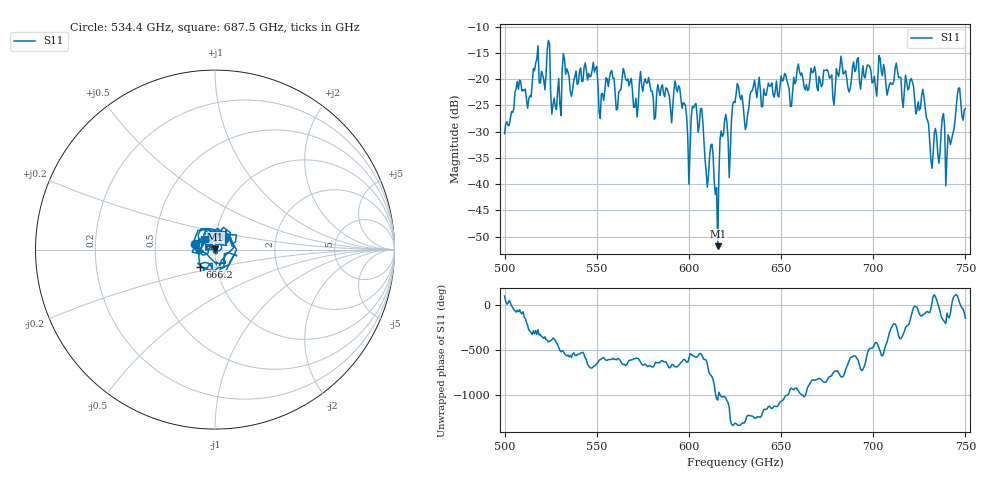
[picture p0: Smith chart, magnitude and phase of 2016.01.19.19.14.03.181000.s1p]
!Created with skrf (http://scikit-rf.org).
# GHz S RI R 50.0
!freq ReS11 ImS11
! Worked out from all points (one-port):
!   401 points, 500 GHz to 750 GHz, reference 50 ohm
!   lowest |S11| = -51.8 dB at 615.6 GHz (marker M1), VSWR 1.01, Z = 50.2 + j0.0882 ohm
!   |S11| at or under -10 dB: start of sweep to end of sweep
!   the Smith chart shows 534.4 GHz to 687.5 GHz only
!   S11 on the Smith chart (normalised r, x): 534.4 GHz: 0.80, +0.05; 666.2 GHz: 0.83, -0.16; 687.5 GHz: 0.89, +0.10
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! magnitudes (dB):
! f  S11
! 500 GHz  -30.4
! 507.5 GHz  -21.9
! 513.1 GHz  -23.7
! 516.9 GHz  -16.9
! 523.8 GHz  -12.6
! 526.9 GHz  -23.6
! 531.2 GHz  -18.1
! 534.4 GHz  -18.7
! 562.5 GHz  -22.2
! 593.8 GHz  -22.4
! 600 GHz  -40.0
! 602.5 GHz  -25.5
! 606.9 GHz  -25.5
! 609.4 GHz  -37.7
! 615.6 GHz  -51.8
! 618.1 GHz  -30.9
! 621.9 GHz  -38.7
! 625 GHz  -24.5
! 656.2 GHz  -22.3
! 666.2 GHz  -17.9
! 687.5 GHz  -21.8
! 718.8 GHz  -22.0
! 727.5 GHz  -23.3
! 731.9 GHz  -37.0
! 737.5 GHz  -27.4
! 740.6 GHz  -30.6
! 746.2 GHz  -21.7
! 750 GHz  -25.6
